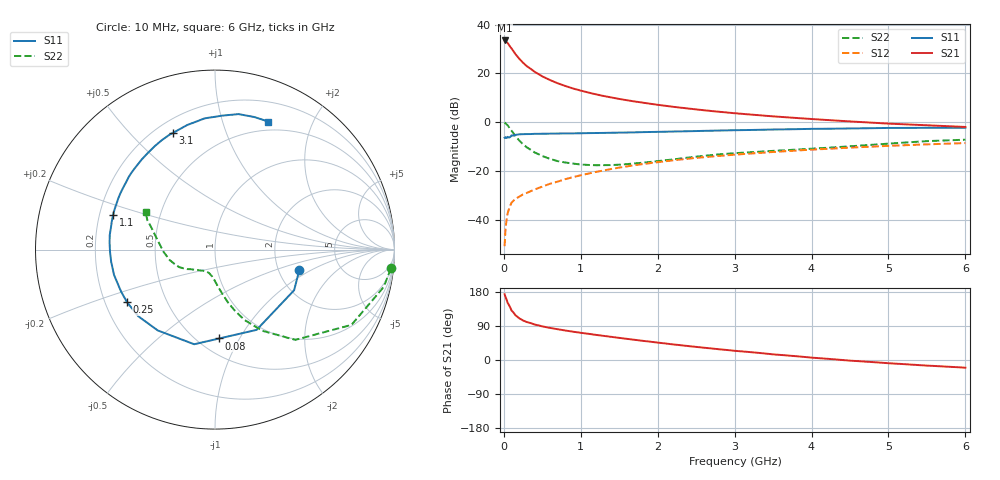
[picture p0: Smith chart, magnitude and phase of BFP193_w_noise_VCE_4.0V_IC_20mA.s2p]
! Infineon Technologies  Discrete & RF Semiconductors
! BFP193
! VCE =  4.0 V,  IC =  20 mA
! Common Emitter S-Parameters:  Jan 2017
# GHz  S  MA  R  50
!  f  S11  S21  S12  S22
! GHz  MAG  ANG  MAG  ANG  MAG  ANG  MAG  ANG
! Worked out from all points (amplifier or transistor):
!   77 points, 10 MHz to 6 GHz, reference 50 ohm
!   highest |S21| = 33.5 dB at 10 MHz (marker M1)
!   |S21| within 3 dB of that: start of sweep to 92.97 MHz
!   unconditionally stable (mu >= 1): 860.9 MHz to 2.533 GHz
!   at 130 MHz: K = 0.38, MSG = 30.4 dB, |S12| = -32.0 dB
!   at 2.2 GHz: K = 1.02, MAG = 10.2 dB, |S12| = -15.6 dB
!   at 6 GHz: K = 0.91, MSG = 3.3 dB, |S12| = -8.5 dB
!   lowest NFmin = 1.05 dB at 450 MHz
!   S11 on the Smith chart (normalised r, x): 10 MHz: 2.60, -0.79; 80 MHz: 0.63, -0.83; 250 MHz: 0.29, -0.25; 1.1 GHz: 0.26, +0.15; 3.1 GHz: 0.27, +0.67; 6 GHz: 0.40, +1.42
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0.01  0.4834 -13.9  47.43 173.5  0.0029 84.6  0.9861 -6.1
0.02  0.4955 -27.2  47.1 167.4  0.0059 83.1  0.9627 -12.5
0.05  0.5037 -62.6  41.98 150.5  0.0138 67.6  0.8681 -28.9
0.08  0.4958 -87.3  35.76 139.8  0.0189 59.4  0.7407 -39.3
0.1  0.5399 -102.4  32.52 130.6  0.0225 56.0  0.6735 -48.3
0.15  0.5519 -125.3  25.03 118.3  0.027 51.6  0.523 -59.8
0.2  0.5664 -139.1  20.05 110.2  0.03 50.8  0.4247 -67.3
0.25  0.5711 -149.2  16.57 104.2  0.0334 50.5  0.3546 -72.2
0.3  0.5732 -156.1  14.06 100.1  0.0358 51.9  0.305 -76.1
0.4  0.58 -166.0  10.81 93.6  0.042 53.6  0.2413 -81.4
0.5  0.5825 -173.4  8.719 88.7  0.0481 55.8  0.2035 -85.8
0.6  0.5851 -178.9  7.33 84.7  0.0551 57.3  0.178 -89.7
0.7  0.5883 176.5  6.301 81.2  0.0609 58.9  0.16 -92.9
0.9  0.5925 168.3  4.921 74.7  0.0753 60.0  0.1426 -99.7
1.1  0.5999 161.2  4.06 69.1  0.0891 59.8  0.1337 -105.9
1.5  0.6138 148.9  3.006 58.4  0.1179 57.7  0.1354 -120.3
2.1  0.641 131.9  2.178 43.6  0.1592 52.3  0.1666 -138.3
2.6  0.667 120.2  1.764 32.4  0.1928 47.0  0.2056 -149.7
3.1  0.6914 109.8  1.488 22.6  0.2227 41.4  0.2377 -159.8
4.1  0.7352 93.0  1.14 4.8  0.2803 30.5  0.2937 179.8
5.1  0.7662 78.8  0.924 -9.7  0.3337 19.2  0.3742 161.1
6  0.7725 67.5  0.802 -20.3  0.3755 9.2  0.4399 151.6
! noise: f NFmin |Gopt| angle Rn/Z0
0.45  1.05  0.27  180  0.07
0.9  1.13  0.36  -178  0.07
1.9  1.76  0.56  -140  0.15
2.4  2.1  0.62  -124  0.34
